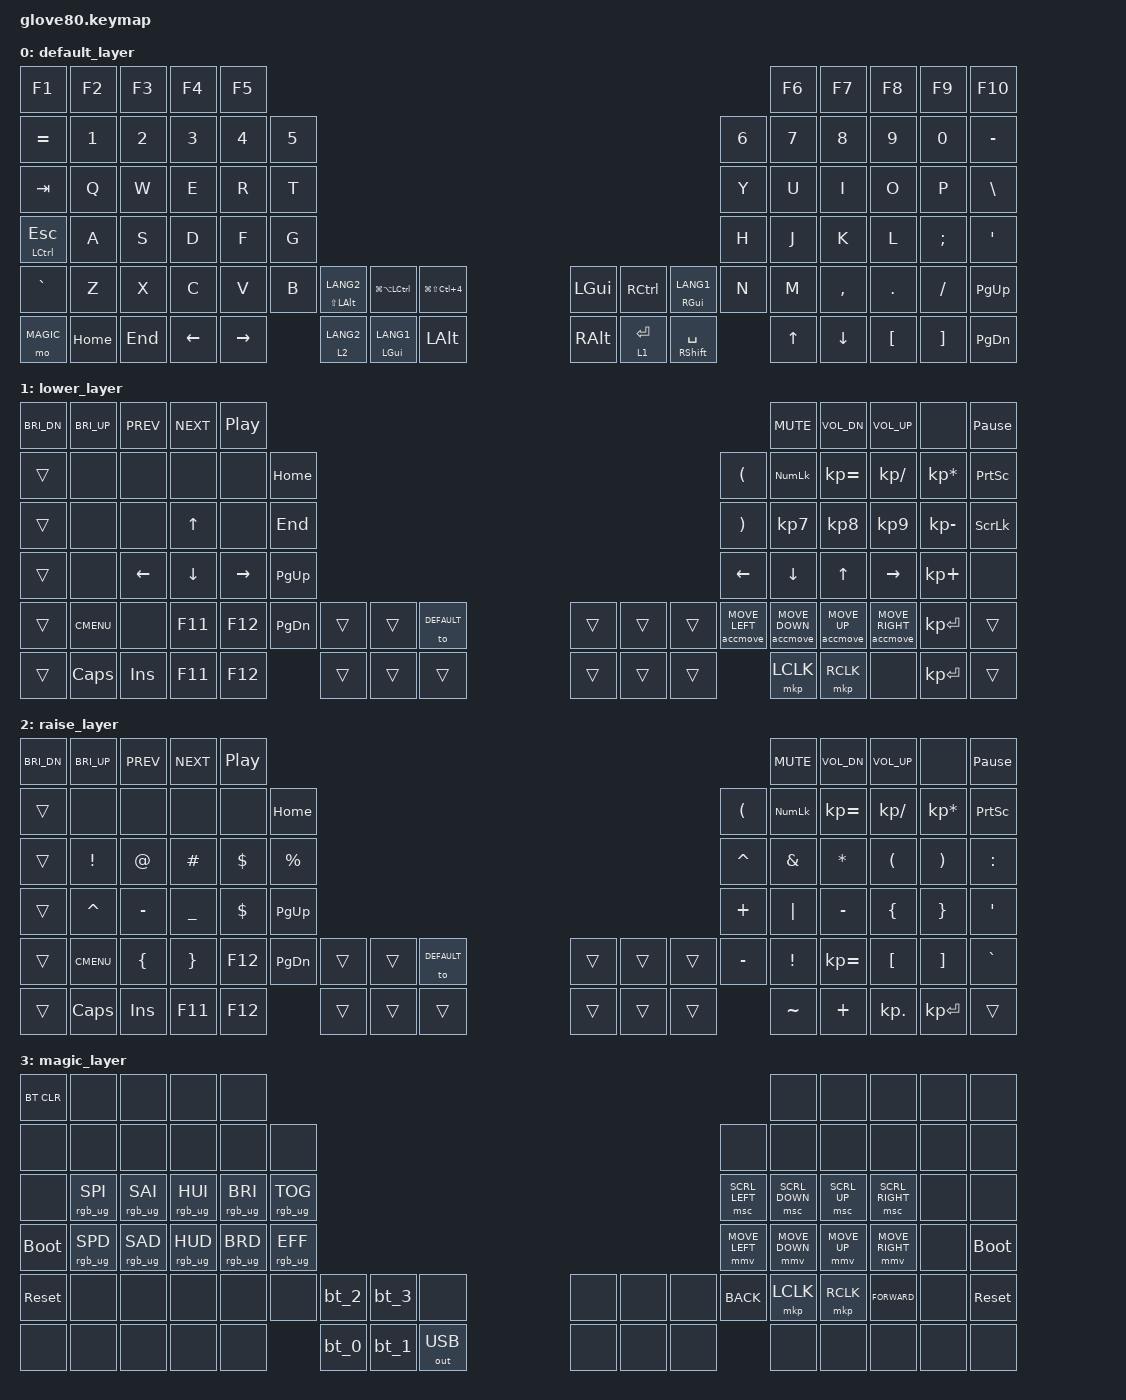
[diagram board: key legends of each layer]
/*
 * Copyright (c) 2020 The ZMK Contributors
 *
 * SPDX-License-Identifier: MIT
 */

#include <behaviors.dtsi>
#include <dt-bindings/zmk/bt.h>
#include <dt-bindings/zmk/keys.h>
#include <dt-bindings/zmk/outputs.h>
#include <dt-bindings/zmk/pointing.h>
#include <dt-bindings/zmk/rgb.h>

// layers

#define DEFAULT 0
#define LOWER 1
#define MAGIC 2
#define ZMK_POINTING_DEFAULT_MOVE_VAL 1500  // default: 600
#define ZMK_POINTING_DEFAULT_SCRL_VAL 20    // default: 10
#define ZMK_POINTING_DEFAULT_MOVE_VAL 3000  // default: 600
#define ZMK_POINTING_DEFAULT_SCRL_VAL 20    // default: 10

/ {
    behaviors {
        // For the "layer" key, it'd nice to be able to use it as either a shift or a toggle.
        // Configure it as a tap dance, so the first tap (or hold) is a &mo and the second tap is a &to

        layer_td: tap_dance_0 {
            compatible = "zmk,behavior-tap-dance";
            #binding-cells = <0>;
            tapping-term-ms = <200>;
            bindings = <&mo LOWER>, <&to LOWER>;
        };

        mt_repeat: mt_repeat {
            compatible = "zmk,behavior-hold-tap";
            #binding-cells = <2>;
            flavor = "tap-preferred";
            tapping-term-ms = <200>;
            quick-tap-ms = <500>;
            require-prior-idle-ms = <100>;
            hold-trigger-on-release;

            // hold-trigger-key-positions = <1 2 3 6 7 8 31 0 9>;

            bindings = <&kp>, <&kp>;
        };

        accmove: accmove {
            compatible = "zmk,behavior-input-two-axis";
            #binding-cells = <1>;
            x-input-code = <INPUT_REL_X>;
            y-input-code = <INPUT_REL_Y>;
            time-to-max-speed-ms = <600>;
            acceleration-exponent = <1>;
        };
    };

    macros {
        bt_0: bt_profile_macro_0 {
            compatible = "zmk,behavior-macro";
            #binding-cells = <0>;
            bindings = <&out OUT_BLE &bt BT_SEL 0>;
        };

        bt_1: bt_profile_macro_1 {
            compatible = "zmk,behavior-macro";
            #binding-cells = <0>;
            bindings = <&out OUT_BLE &bt BT_SEL 1>;
        };

        bt_2: bt_profile_macro_2 {
            compatible = "zmk,behavior-macro";
            #binding-cells = <0>;
            bindings = <&out OUT_BLE &bt BT_SEL 2>;
        };

        bt_3: bt_profile_macro_3 {
            compatible = "zmk,behavior-macro";
            #binding-cells = <0>;
            bindings = <&out OUT_BLE &bt BT_SEL 3>;
        };
    };

    combos {
        compatible = "zmk,combos";

        combo_colon {
            bindings = <&kp COLON>;
            key-positions = <43 44>;
        };

        combo_underbar {
            bindings = <&kp UNDERSCORE>;
            key-positions = <21 20>;
        };

        combo_lt3 {
            bindings = <&mo 3>;
            key-positions = <70 73>;
        };

        minus {
            bindings = <&kp MINUS>;
            key-positions = <42 43>;
        };

        underscore {
            bindings = <&kp UNDERSCORE>;
            key-positions = <60 61>;
        };

        lang2 {
            bindings = <&kp LANG1>;
            key-positions = <41 42>;
        };

        lang1 {
            bindings = <&kp LANG2>;
            key-positions = <38 37>;
        };
    };

    keymap {
        compatible = "zmk,keymap";

        default_layer {
            // ---------------------------------------------------------------------------------------------------------------------------------
            // |  F1   |  F2 |  F3 |  F4  |  F5  |                                                               |  F6   |  F7   |  F8  |   F9  |  F10 |
            // |  =    |  1  |  2  |  3   |  4   |  5   |                                                 |  6   |   7   |   8   |  9   |   0   |   -  |
            // |  TAB  |  Q  |  W  |  E   |  R   |  T   |                                                 |  Y   |   U   |   I   |  O   |   P   |   \  |
            // |  ESC  |  A  |  S  |  D   |  F   |  G   |                                                 |  H   |   J   |   K   |  L   |   ;   |   '  |
            // |   `   |  Z  |  X  |  C   |  V   |  B   | LSHFT | LCTRL | LOWER | | LGUI  | RCTRL | RSHFT |  N   |   M   |   ,   |  .   |   /   | PGUP |
            // | MAGIC | HOME| END | LEFT | RIGHT|      | BSPC  | DEL   | LALT  | | RALT  | RET   | SPACE |      |  UP   | DOWN  |  [   |   ]   | PGDN |

            bindings = <
&kp F1         &kp F2    &kp F3   &kp F4    &kp F5                                                                                                                                   &kp F6  &kp F7     &kp F8    &kp F9    &kp F10
&kp EQUAL      &kp N1    &kp N2   &kp N3    &kp N4     &kp N5                                                                                                                &kp N6  &kp N7  &kp N8     &kp N9    &kp N0    &kp MINUS
&kp TAB        &kp Q     &kp W    &kp E     &kp R      &kp T                                                                                                                 &kp Y   &kp U   &kp I      &kp O     &kp P     &kp BSLH
&mt LCTRL ESC  &kp A     &kp S    &kp D     &kp F      &kp G                                                                                                                 &kp H   &kp J   &kp K      &kp L     &kp SEMI  &kp SQT
&kp GRAVE      &kp Z     &kp X    &kp C     &kp V      &kp B   &mt LS(LEFT_ALT) LANG2  &kp LG(LA(LCTRL))  &kp LG(LS(LC(NUMBER_4)))    &kp LGUI  &kp RCTRL  &mt RGUI LANG1    &kp N   &kp M   &kp COMMA  &kp DOT   &kp FSLH  &kp PG_UP
&mo MAGIC      &kp HOME  &kp END  &kp LEFT  &kp RIGHT          &lt 2 LANG2             &mt LGUI LANG1     &kp LALT                    &kp RALT  &lt 1 RET  &mt RSHIFT SPACE          &kp UP  &kp DOWN   &kp LBKT  &kp RBKT  &kp PG_DN
            >;
        };

        lower_layer {
            bindings = <
&kp C_BRI_DN  &kp C_BRI_UP  &kp C_PREV  &kp C_NEXT  &kp C_PP                                                                                         &kp C_MUTE          &kp C_VOL_DN      &kp C_VOL_UP         &none            &kp PAUSE_BREAK
&trans        &none         &none       &none       &none      &kp HOME                                                          &kp LPAR            &kp KP_NUM          &kp KP_EQUAL      &kp KP_DIVIDE        &kp KP_MULTIPLY  &kp PSCRN
&trans        &none         &none       &kp UP      &none      &kp END                                                           &kp RPAR            &kp KP_N7           &kp KP_N8         &kp KP_N9            &kp KP_MINUS     &kp SLCK
&trans        &none         &kp LEFT    &kp DOWN    &kp RIGHT  &kp PG_UP                                                         &kp LEFT            &kp DOWN            &kp UP            &kp RIGHT            &kp KP_PLUS      &none
&trans        &kp K_CMENU   &none       &kp F11     &kp F12    &kp PG_DN  &trans  &trans  &to DEFAULT    &trans  &trans  &trans  &accmove MOVE_LEFT  &accmove MOVE_DOWN  &accmove MOVE_UP  &accmove MOVE_RIGHT  &kp KP_ENTER     &trans
&trans        &kp CAPS      &kp INS     &kp F11     &kp F12               &trans  &trans  &trans         &trans  &trans  &trans                      &mkp LCLK           &mkp RCLK         &none                &kp KP_ENTER     &trans
            >;
        };

        raise_layer {
            bindings = <
&kp C_BRI_DN  &kp C_BRI_UP  &kp C_PREV      &kp C_NEXT       &kp C_PP                                                                                 &kp C_MUTE       &kp C_VOL_DN  &kp C_VOL_UP   &none            &kp PAUSE_BREAK
&trans        &none         &none           &none            &none       &kp HOME                                                          &kp LPAR   &kp KP_NUM       &kp KP_EQUAL  &kp KP_DIVIDE  &kp KP_MULTIPLY  &kp PSCRN
&trans        &kp EXCL      &kp AT          &kp HASH         &kp DLLR    &kp PRCNT                                                         &kp CARET  &kp AMPS         &kp ASTERISK  &kp LPAR       &kp RPAR         &kp COLON
&trans        &kp CARET     &kp MINUS       &kp UNDER        &kp DOLLAR  &kp PG_UP                                                         &kp PLUS   &kp PIPE         &kp MINUS     &kp LBRC       &kp RBRC         &kp SINGLE_QUOTE
&trans        &kp K_CMENU   &kp LEFT_BRACE  &kp RIGHT_BRACE  &kp F12     &kp PG_DN  &trans  &trans  &to DEFAULT    &trans  &trans  &trans  &kp MINUS  &kp EXCLAMATION  &kp KP_EQUAL  &kp LBKT       &kp RBKT         &kp GRAVE
&trans        &kp CAPS      &kp INS         &kp F11          &kp F12                &trans  &trans  &trans         &trans  &trans  &trans             &kp TILDE        &kp PLUS      &kp KP_DOT     &kp KP_ENTER     &trans
            >;
        };

        magic_layer {
            bindings = <
&bt BT_CLR   &none            &none            &none            &none                                                                                                &none           &none         &none            &none  &none
&none        &none            &none            &none            &none            &none                                                               &none           &none           &none         &none            &none  &none
&none        &rgb_ug RGB_SPI  &rgb_ug RGB_SAI  &rgb_ug RGB_HUI  &rgb_ug RGB_BRI  &rgb_ug RGB_TOG                                                     &msc SCRL_LEFT  &msc SCRL_DOWN  &msc SCRL_UP  &msc SCRL_RIGHT  &none  &none
&bootloader  &rgb_ug RGB_SPD  &rgb_ug RGB_SAD  &rgb_ug RGB_HUD  &rgb_ug RGB_BRD  &rgb_ug RGB_EFF                                                     &mmv MOVE_LEFT  &mmv MOVE_DOWN  &mmv MOVE_UP  &mmv MOVE_RIGHT  &none  &bootloader
&sys_reset   &none            &none            &none            &none            &none            &bt_2  &bt_3  &none           &none  &none  &none  &kp K_BACK      &mkp LCLK       &mkp RCLK     &kp K_FORWARD    &none  &sys_reset
&none        &none            &none            &none            &none                             &bt_0  &bt_1  &out OUT_USB    &none  &none  &none                  &none           &none         &none            &none  &none
            >;
        };
    };
};
